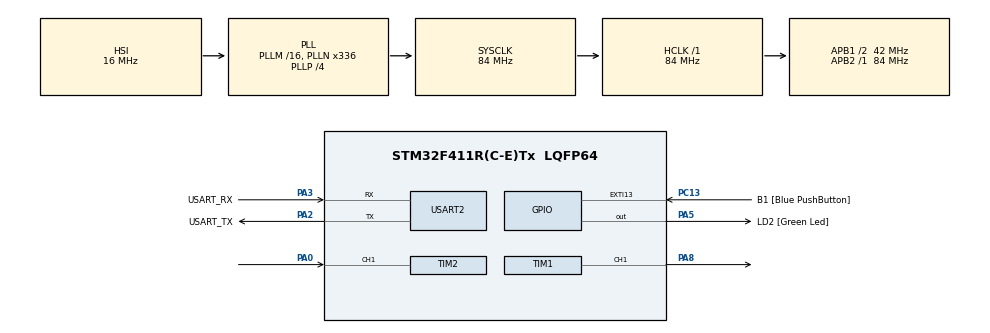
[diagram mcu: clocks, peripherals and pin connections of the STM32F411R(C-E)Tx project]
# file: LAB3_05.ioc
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Dma.Request0=TIM2_CH1
Dma.TIM2_CH1.0.Direction=DMA_PERIPH_TO_MEMORY
Dma.TIM2_CH1.0.FIFOMode=DMA_FIFOMODE_DISABLE
Dma.TIM2_CH1.0.Instance=DMA1_Stream5
Dma.TIM2_CH1.0.MemDataAlignment=DMA_MDATAALIGN_WORD
Dma.TIM2_CH1.0.MemInc=DMA_MINC_ENABLE
Dma.TIM2_CH1.0.Mode=DMA_CIRCULAR
Dma.TIM2_CH1.0.PeriphDataAlignment=DMA_PDATAALIGN_WORD
Dma.TIM2_CH1.0.PeriphInc=DMA_PINC_DISABLE
Dma.TIM2_CH1.0.Priority=DMA_PRIORITY_LOW
Mcu.Family=STM32F4
Mcu.Name=STM32F411R(C-E)Tx
Mcu.Package=LQFP64
NVIC.DMA1_Stream5_IRQn=true\:0\:0\:false\:false\:true\:false\:true\:true
NVIC.PriorityGroup=NVIC_PRIORITYGROUP_0
PA0-WKUP.Signal=S_TIM2_CH1_ETR
PA13.GPIO_Label=TMS
PA13.Mode=Serial_Wire
PA13.Signal=SYS_JTMS-SWDIO
PA14.GPIO_Label=TCK
PA14.Mode=Serial_Wire
PA14.Signal=SYS_JTCK-SWCLK
PA2.GPIO_Label=USART_TX
PA2.Mode=Asynchronous
PA2.Signal=USART2_TX
PA3.GPIO_Label=USART_RX
PA3.Mode=Asynchronous
PA3.Signal=USART2_RX
PA5.GPIO_Label=LD2 [Green Led]
PA5.Signal=GPIO_Output
PA8.Signal=S_TIM1_CH1
PB3.GPIO_Label=SWO
PB3.Signal=SYS_JTDO-SWO
PC13-ANTI_TAMP.GPIO_Label=B1 [Blue PushButton]
PC13-ANTI_TAMP.GPIO_ModeDefaultEXTI=GPIO_MODE_IT_FALLING
PC13-ANTI_TAMP.Signal=GPXTI13
PC14-OSC32_IN.Mode=LSE-External-Oscillator
PC14-OSC32_IN.Signal=RCC_OSC32_IN
PC15-OSC32_OUT.Mode=LSE-External-Oscillator
PC15-OSC32_OUT.Signal=RCC_OSC32_OUT
PH0\ -\ OSC_IN.Mode=HSE-External-Clock-Source
PH0\ -\ OSC_IN.Signal=RCC_OSC_IN
PH1\ -\ OSC_OUT.Mode=HSE-External-Clock-Source
PH1\ -\ OSC_OUT.Signal=RCC_OSC_OUT
ProjectManager.HeapSize=0x200
ProjectManager.StackSize=0x400
ProjectManager.TargetToolchain=STM32CubeIDE
RCC.48MHZClocksFreq_Value=84000000
RCC.AHBFreq_Value=84000000
RCC.APB1CLKDivider=RCC_HCLK_DIV2
RCC.APB1Freq_Value=42000000
RCC.APB1TimFreq_Value=84000000
RCC.APB2Freq_Value=84000000
RCC.APB2TimFreq_Value=84000000
RCC.CortexFreq_Value=84000000
RCC.FLatency-AdvancedSettings=FLASH_LATENCY_2
RCC.HCLKFreq_Value=84000000
RCC.HSE_VALUE=8000000
RCC.HSI_VALUE=16000000
RCC.PLLN=336
RCC.PLLP=RCC_PLLP_DIV4
RCC.SYSCLKFreq_VALUE=84000000
RCC.SYSCLKSource=RCC_SYSCLKSOURCE_PLLCLK
RCC.VCOOutputFreq_Value=336000000
SH.S_TIM1_CH1.0=TIM1_CH1,PWM Generation1 CH1
SH.S_TIM2_CH1_ETR.0=TIM2_CH1,Input_Capture1_from_TI1
TIM1.Channel-PWM\ Generation1\ CH1=TIM_CHANNEL_1
TIM1.Period=999
TIM1.Prescaler=83
TIM1.Pulse-PWM\ Generation1\ CH1=500
TIM2.Channel-Input_Capture1_from_TI1=TIM_CHANNEL_1
TIM2.Period=4294967295
TIM2.Prescaler=83
USART2.VirtualMode=VM_ASYNC
VP_TIM1_VS_ClockSourceINT.Mode=Internal
VP_TIM2_VS_ClockSourceINT.Mode=Internal
board=NUCLEO-F411RE

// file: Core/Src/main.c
/* USER CODE BEGIN Header */
/**
 ******************************************************************************
 * @file           : main.c
 * @brief          : Main program body
 ******************************************************************************
 * @attention
 *
 * Copyright (c) 2023 STMicroelectronics.
 * All rights reserved.
 *
 * This software is licensed under terms that can be found in the LICENSE file
 * in the root directory of this software component.
 * If no LICENSE file comes with this software, it is provided AS-IS.
 *
 ******************************************************************************
 */
/* USER CODE END Header */
#include "main.h"

/* USER CODE BEGIN Includes */
#define IC_BUFFER_SIZE 20
/* USER CODE END Includes */

TIM_HandleTypeDef htim1;
TIM_HandleTypeDef htim2;
DMA_HandleTypeDef hdma_tim2_ch1;

UART_HandleTypeDef huart2;

/* USER CODE BEGIN PV */
uint32_t InputCaptureBuffer[IC_BUFFER_SIZE];
float averageRisingedgePeriod;
float averagePeriod;
float MotorReadRPM;
uint32_t MotorSetRPM;
uint8_t MotorControlEnable;
uint32_t duty = 0;
uint32_t MotorSetDuty = 50;
/* USER CODE END PV */

void SystemClock_Config(void);
static void MX_GPIO_Init(void);
static void MX_DMA_Init(void);
static void MX_USART2_UART_Init(void);
static void MX_TIM1_Init(void);
static void MX_TIM2_Init(void);
/* USER CODE BEGIN PFP */
float IC_Calc_Period();
/* USER CODE END PFP */

int main(void) {

	/* MCU Configuration--------------------------------------------------------*/

	/* Reset of all peripherals, Initializes the Flash interface and the Systick. */
	HAL_Init();

	/* Configure the system clock */
	SystemClock_Config();

	/* Initialize all configured peripherals */
	MX_GPIO_Init();
	MX_DMA_Init();
	MX_USART2_UART_Init();
	MX_TIM1_Init();
	MX_TIM2_Init();
	/* USER CODE BEGIN 2 */
	HAL_TIM_Base_Start(&htim2);
	HAL_TIM_IC_Start_DMA(&htim2, TIM_CHANNEL_1, InputCaptureBuffer,
	IC_BUFFER_SIZE);

	HAL_TIM_Base_Start(&htim1);
	HAL_TIM_PWM_Start(&htim1, TIM_CHANNEL_1);
	/* USER CODE END 2 */

	/* Infinite loop */
	while (1) {

		/* USER CODE BEGIN 3 */
		static uint32_t timestamp = 0;
		if (HAL_GetTick() >= timestamp) {
			timestamp = HAL_GetTick() + 500;
			averageRisingedgePeriod = IC_Calc_Period();
			MotorReadRPM = (60 / averageRisingedgePeriod * 12 * 64);
			switch (MotorControlEnable) {
			case 0:
				duty = MotorSetDuty * 10;
				__HAL_TIM_SET_COMPARE(&htim1, TIM_CHANNEL_1, duty);
				break;

			case 1:

			if (MotorReadRPM < MotorSetRPM) {
				duty = duty + 1;
				__HAL_TIM_SET_COMPARE(&htim1, TIM_CHANNEL_1, duty);
			}
			else if (MotorReadRPM > MotorSetRPM) {
				duty = duty - 1;
				__HAL_TIM_SET_COMPARE(&htim1, TIM_CHANNEL_1, duty);
			}
			break;
		}
		}

	}
	/* USER CODE END 3 */
}

void SystemClock_Config(void) {
	RCC_OscInitTypeDef RCC_OscInitStruct = { 0 };
	RCC_ClkInitTypeDef RCC_ClkInitStruct = { 0 };

	/** Configure the main internal regulator output voltage
	 */
	__HAL_RCC_PWR_CLK_ENABLE();
	__HAL_PWR_VOLTAGESCALING_CONFIG(PWR_REGULATOR_VOLTAGE_SCALE1);

	/** Initializes the RCC Oscillators according to the specified parameters
	 * in the RCC_OscInitTypeDef structure.
	 */
	RCC_OscInitStruct.OscillatorType = RCC_OSCILLATORTYPE_HSI;
	RCC_OscInitStruct.HSIState = RCC_HSI_ON;
	RCC_OscInitStruct.HSICalibrationValue = RCC_HSICALIBRATION_DEFAULT;
	RCC_OscInitStruct.PLL.PLLState = RCC_PLL_ON;
	RCC_OscInitStruct.PLL.PLLSource = RCC_PLLSOURCE_HSI;
	RCC_OscInitStruct.PLL.PLLM = 16;
	RCC_OscInitStruct.PLL.PLLN = 336;
	RCC_OscInitStruct.PLL.PLLP = RCC_PLLP_DIV4;
	RCC_OscInitStruct.PLL.PLLQ = 4;
	if (HAL_RCC_OscConfig(&RCC_OscInitStruct) != HAL_OK) {
		Error_Handler();
	}

	/** Initializes the CPU, AHB and APB buses clocks
	 */
	RCC_ClkInitStruct.ClockType = RCC_CLOCKTYPE_HCLK | RCC_CLOCKTYPE_SYSCLK
			| RCC_CLOCKTYPE_PCLK1 | RCC_CLOCKTYPE_PCLK2;
	RCC_ClkInitStruct.SYSCLKSource = RCC_SYSCLKSOURCE_PLLCLK;
	RCC_ClkInitStruct.AHBCLKDivider = RCC_SYSCLK_DIV1;
	RCC_ClkInitStruct.APB1CLKDivider = RCC_HCLK_DIV2;
	RCC_ClkInitStruct.APB2CLKDivider = RCC_HCLK_DIV1;

	if (HAL_RCC_ClockConfig(&RCC_ClkInitStruct, FLASH_LATENCY_2) != HAL_OK) {
		Error_Handler();
	}
}

static void MX_TIM1_Init(void) {

	TIM_ClockConfigTypeDef sClockSourceConfig = { 0 };
	TIM_MasterConfigTypeDef sMasterConfig = { 0 };
	TIM_OC_InitTypeDef sConfigOC = { 0 };
	TIM_BreakDeadTimeConfigTypeDef sBreakDeadTimeConfig = { 0 };

	htim1.Instance = TIM1;
	htim1.Init.Prescaler = 83;
	htim1.Init.CounterMode = TIM_COUNTERMODE_UP;
	htim1.Init.Period = 999;
	htim1.Init.ClockDivision = TIM_CLOCKDIVISION_DIV1;
	htim1.Init.RepetitionCounter = 0;
	htim1.Init.AutoReloadPreload = TIM_AUTORELOAD_PRELOAD_DISABLE;
	if (HAL_TIM_Base_Init(&htim1) != HAL_OK) {
		Error_Handler();
	}
	sClockSourceConfig.ClockSource = TIM_CLOCKSOURCE_INTERNAL;
	if (HAL_TIM_ConfigClockSource(&htim1, &sClockSourceConfig) != HAL_OK) {
		Error_Handler();
	}
	if (HAL_TIM_PWM_Init(&htim1) != HAL_OK) {
		Error_Handler();
	}
	sMasterConfig.MasterOutputTrigger = TIM_TRGO_RESET;
	sMasterConfig.MasterSlaveMode = TIM_MASTERSLAVEMODE_DISABLE;
	if (HAL_TIMEx_MasterConfigSynchronization(&htim1, &sMasterConfig)
			!= HAL_OK) {
		Error_Handler();
	}
	sConfigOC.OCMode = TIM_OCMODE_PWM1;
	sConfigOC.Pulse = 500;
	sConfigOC.OCPolarity = TIM_OCPOLARITY_HIGH;
	sConfigOC.OCNPolarity = TIM_OCNPOLARITY_HIGH;
	sConfigOC.OCFastMode = TIM_OCFAST_DISABLE;
	sConfigOC.OCIdleState = TIM_OCIDLESTATE_RESET;
	sConfigOC.OCNIdleState = TIM_OCNIDLESTATE_RESET;
	if (HAL_TIM_PWM_ConfigChannel(&htim1, &sConfigOC, TIM_CHANNEL_1)
			!= HAL_OK) {
		Error_Handler();
	}
	sBreakDeadTimeConfig.OffStateRunMode = TIM_OSSR_DISABLE;
	sBreakDeadTimeConfig.OffStateIDLEMode = TIM_OSSI_DISABLE;
	sBreakDeadTimeConfig.LockLevel = TIM_LOCKLEVEL_OFF;
	sBreakDeadTimeConfig.DeadTime = 0;
	sBreakDeadTimeConfig.BreakState = TIM_BREAK_DISABLE;
	sBreakDeadTimeConfig.BreakPolarity = TIM_BREAKPOLARITY_HIGH;
	sBreakDeadTimeConfig.AutomaticOutput = TIM_AUTOMATICOUTPUT_DISABLE;
	if (HAL_TIMEx_ConfigBreakDeadTime(&htim1, &sBreakDeadTimeConfig)
			!= HAL_OK) {
		Error_Handler();
	}
	HAL_TIM_MspPostInit(&htim1);

}

static void MX_TIM2_Init(void) {

	TIM_ClockConfigTypeDef sClockSourceConfig = { 0 };
	TIM_MasterConfigTypeDef sMasterConfig = { 0 };
	TIM_IC_InitTypeDef sConfigIC = { 0 };

	htim2.Instance = TIM2;
	htim2.Init.Prescaler = 83;
	htim2.Init.CounterMode = TIM_COUNTERMODE_UP;
	htim2.Init.Period = 4294967295;
	htim2.Init.ClockDivision = TIM_CLOCKDIVISION_DIV1;
	htim2.Init.AutoReloadPreload = TIM_AUTORELOAD_PRELOAD_DISABLE;
	if (HAL_TIM_Base_Init(&htim2) != HAL_OK) {
		Error_Handler();
	}
	sClockSourceConfig.ClockSource = TIM_CLOCKSOURCE_INTERNAL;
	if (HAL_TIM_ConfigClockSource(&htim2, &sClockSourceConfig) != HAL_OK) {
		Error_Handler();
	}
	if (HAL_TIM_IC_Init(&htim2) != HAL_OK) {
		Error_Handler();
	}
	sMasterConfig.MasterOutputTrigger = TIM_TRGO_RESET;
	sMasterConfig.MasterSlaveMode = TIM_MASTERSLAVEMODE_DISABLE;
	if (HAL_TIMEx_MasterConfigSynchronization(&htim2, &sMasterConfig)
			!= HAL_OK) {
		Error_Handler();
	}
	sConfigIC.ICPolarity = TIM_INPUTCHANNELPOLARITY_RISING;
	sConfigIC.ICSelection = TIM_ICSELECTION_DIRECTTI;
	sConfigIC.ICPrescaler = TIM_ICPSC_DIV1;
	sConfigIC.ICFilter = 0;
	if (HAL_TIM_IC_ConfigChannel(&htim2, &sConfigIC, TIM_CHANNEL_1) != HAL_OK) {
		Error_Handler();
	}

}

static void MX_USART2_UART_Init(void) {

	huart2.Instance = USART2;
	huart2.Init.BaudRate = 115200;
	huart2.Init.WordLength = UART_WORDLENGTH_8B;
	huart2.Init.StopBits = UART_STOPBITS_1;
	huart2.Init.Parity = UART_PARITY_NONE;
	huart2.Init.Mode = UART_MODE_TX_RX;
	huart2.Init.HwFlowCtl = UART_HWCONTROL_NONE;
	huart2.Init.OverSampling = UART_OVERSAMPLING_16;
	if (HAL_UART_Init(&huart2) != HAL_OK) {
		Error_Handler();
	}

}

static void MX_DMA_Init(void) {

	/* DMA controller clock enable */
	__HAL_RCC_DMA1_CLK_ENABLE();

	/* DMA interrupt init */
	/* DMA1_Stream5_IRQn interrupt configuration */
	HAL_NVIC_SetPriority(DMA1_Stream5_IRQn, 0, 0);
	HAL_NVIC_EnableIRQ(DMA1_Stream5_IRQn);

}

static void MX_GPIO_Init(void) {
	GPIO_InitTypeDef GPIO_InitStruct = { 0 };

	/* GPIO Ports Clock Enable */
	__HAL_RCC_GPIOC_CLK_ENABLE();
	__HAL_RCC_GPIOH_CLK_ENABLE();
	__HAL_RCC_GPIOA_CLK_ENABLE();
	__HAL_RCC_GPIOB_CLK_ENABLE();

	/*Configure GPIO pin Output Level */
	HAL_GPIO_WritePin(LD2_GPIO_Port, LD2_Pin, GPIO_PIN_RESET);

	/*Configure GPIO pin : B1_Pin */
	GPIO_InitStruct.Pin = B1_Pin;
	GPIO_InitStruct.Mode = GPIO_MODE_IT_FALLING;
	GPIO_InitStruct.Pull = GPIO_NOPULL;
	HAL_GPIO_Init(B1_GPIO_Port, &GPIO_InitStruct);

	/*Configure GPIO pin : LD2_Pin */
	GPIO_InitStruct.Pin = LD2_Pin;
	GPIO_InitStruct.Mode = GPIO_MODE_OUTPUT_PP;
	GPIO_InitStruct.Pull = GPIO_NOPULL;
	GPIO_InitStruct.Speed = GPIO_SPEED_FREQ_LOW;
	HAL_GPIO_Init(LD2_GPIO_Port, &GPIO_InitStruct);

}

/* USER CODE BEGIN 4 */
float IC_Calc_Period() {
	uint32_t currentDMApointer = IC_BUFFER_SIZE
			- __HAL_DMA_GET_COUNTER((htim2.hdma[1]));
	uint32_t lastValidDMAPointer = (currentDMApointer - 1 + IC_BUFFER_SIZE)
			% IC_BUFFER_SIZE;
	uint32_t i = (lastValidDMAPointer + IC_BUFFER_SIZE - 4) % IC_BUFFER_SIZE;

	int32_t sumdiff = 0;
	while (i != lastValidDMAPointer) {
		uint32_t firstCapture = InputCaptureBuffer[i];
		uint32_t NextCapture = InputCaptureBuffer[(i + 1) % IC_BUFFER_SIZE];
		sumdiff += NextCapture - firstCapture;
		i = (i + 1) % IC_BUFFER_SIZE;

	}
	return sumdiff / 5.0;;
}
/* USER CODE END 4 */

void Error_Handler(void) {
	__disable_irq();
	while (1) {
	}
}
